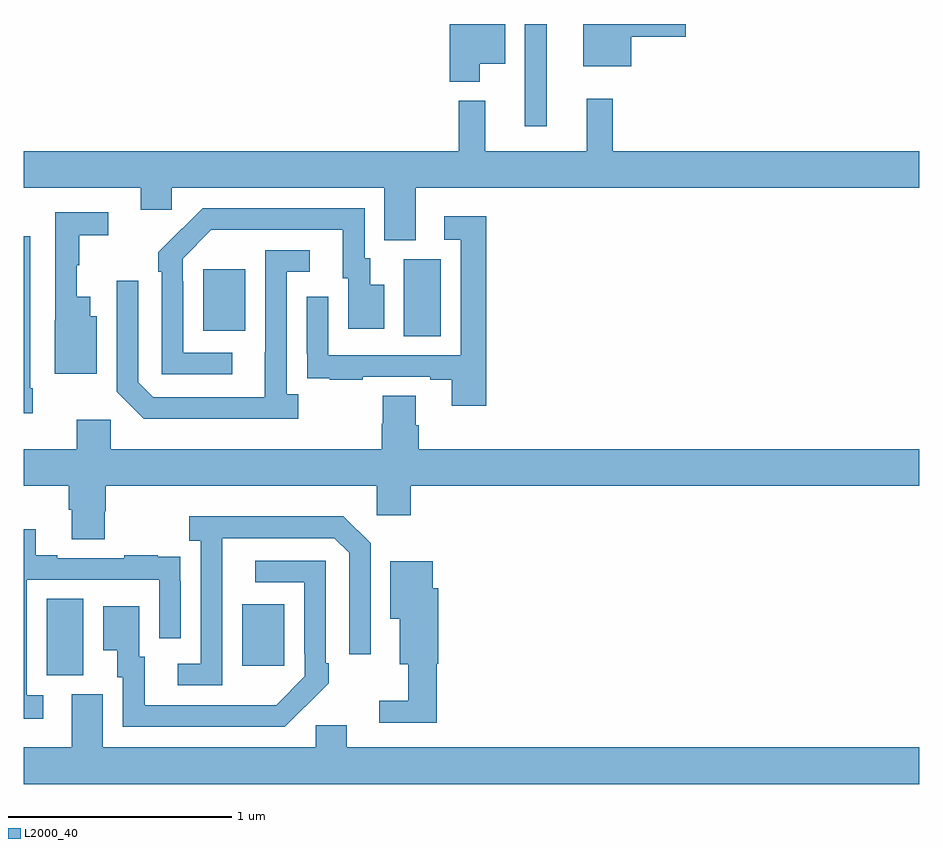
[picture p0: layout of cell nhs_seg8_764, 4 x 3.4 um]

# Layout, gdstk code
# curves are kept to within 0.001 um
import gdstk
lib = gdstk.Library(unit=1e-6, precision=1e-09)
def R(c, l, rs):  # rectangles x0, y0, x1, y1
    for r in rs: c.add(gdstk.rectangle(r[:2], r[2:], *l))
def P(c, l, *ps):  # polygons
    for p in ps: c.add(gdstk.Polygon(p, *l))
L2000_40 = (2000, 40)

nhs_seg8_764 = lib.new_cell('nhs_seg8_764')
R(nhs_seg8_764, L2000_40, [(161.102,1112.989,161.266,1113.332), (161.975,1113.033,162.163,1113.307), (162.698,1114.504,162.862,1114.848), (161.801,1114.529,161.989,1114.804), (163.239,1115.442,163.336,1115.9)])
P(nhs_seg8_764, L2000_40, [(163.036,1115.723),(163.15,1115.723),(163.15,1115.9),(162.902,1115.9),(162.902,1115.642),(163.036,1115.642)],
  [(163.714,1115.843),(163.957,1115.843),(163.957,1115.9),(163.499,1115.9),(163.499,1115.711),(163.714,1115.711)],
  [(162.751,1115.168),(165,1115.168),(165,1115.332),(163.631,1115.332),(163.631,1115.566),(163.514,1115.566),(163.514,1115.332),(163.061,1115.332),(163.061,1115.557),(162.943,1115.557),(162.943,1115.332),(161,1115.332),(161,1115.168),(161.522,1115.168),(161.522,1115.07),(161.661,1115.07),(161.661,1115.168),(162.611,1115.168),(162.611,1114.933),(162.751,1114.933)],
  [(161.932,1114.431),(161.712,1114.431),(161.712,1114.751),(161.709,1114.751),(161.709,1114.851),(161.838,1114.98),(162.425,1114.98),(162.425,1114.764),(162.449,1114.764),(162.449,1114.539),(162.61,1114.539),(162.61,1114.735),(162.547,1114.735),(162.547,1114.854),(162.522,1114.854),(162.522,1115.076),(161.798,1115.076),(161.601,1114.881),(161.601,1114.793),(161.616,1114.793),(161.616,1114.335),(161.932,1114.335)],
  [(161.326,1114.594),(161.296,1114.594),(161.296,1114.681),(161.237,1114.681),(161.237,1114.821),(161.248,1114.821),(161.248,1114.957),(161.377,1114.957),(161.377,1115.058),(161.139,1115.058),(161.139,1114.577),(161.138,1114.577),(161.138,1114.337),(161.326,1114.337)],
  [(163.067,1115.041),(162.879,1115.041),(162.879,1114.935),(162.951,1114.935),(162.951,1114.419),(162.36,1114.419),(162.36,1114.681),(162.264,1114.681),(162.264,1114.426),(162.265,1114.426),(162.265,1114.317),(162.367,1114.317),(162.367,1114.311),(162.515,1114.311),(162.515,1114.323),(162.815,1114.323),(162.815,1114.311),(162.911,1114.311),(162.911,1114.194),(163.067,1114.194)],
  [(161.039,1114.273),(161.029,1114.273),(161.029,1114.952),(161,1114.952),(161,1114.161),(161.039,1114.161)],
  [(162.226,1114.246),(162.174,1114.246),(162.174,1114.794),(162.277,1114.794),(162.277,1114.89),(162.078,1114.89),(162.077,1114.233),(161.577,1114.233),(161.511,1114.299),(161.511,1114.753),(161.415,1114.753),(161.415,1114.257),(161.536,1114.136),(162.226,1114.136)],
  [(161.361,1113.723),(161.366,1113.723),(161.366,1113.836),(162.576,1113.836),(162.576,1113.705),(162.728,1113.705),(162.728,1113.836),(165,1113.836),(165,1114),(162.764,1114),(162.764,1114.106),(162.751,1114.106),(162.751,1114.238),(162.604,1114.238),(162.604,1114.113),(162.599,1114.113),(162.599,1114),(161.388,1114),(161.388,1114.132),(161.237,1114.132),(161.237,1114),(161,1114),(161,1113.836),(161.201,1113.836),(161.201,1113.73),(161.213,1113.73),(161.213,1113.598),(161.361,1113.598)],
  [(161.886,1113.403),(161.887,1113.603),(162.387,1113.603),(162.453,1113.537),(162.453,1113.084),(162.549,1113.084),(162.549,1113.579),(162.428,1113.7),(161.739,1113.7),(161.739,1113.59),(161.79,1113.59),(161.79,1113.042),(161.688,1113.042),(161.688,1112.946),(161.886,1112.946)],
  [(161.086,1112.901),(161.013,1112.901),(161.013,1113.417),(161.604,1113.417),(161.604,1113.156),(161.7,1113.156),(161.7,1113.41),(161.699,1113.41),(161.699,1113.519),(161.597,1113.519),(161.597,1113.526),(161.449,1113.526),(161.449,1113.513),(161.149,1113.513),(161.149,1113.526),(161.053,1113.526),(161.053,1113.643),(161,1113.643),(161,1112.796),(161.086,1112.796)],
  [(162.257,1112.851),(162.258,1112.85),(162.363,1112.955),(162.363,1113.043),(162.348,1113.043),(162.348,1113.501),(162.033,1113.501),(162.033,1113.405),(162.252,1113.405),(162.252,1113.085),(162.255,1113.085),(162.255,1112.985),(162.127,1112.857),(161.539,1112.856),(161.539,1113.072),(161.515,1113.072),(161.515,1113.298),(161.354,1113.298),(161.354,1113.101),(161.417,1113.101),(161.417,1112.982),(161.442,1112.982),(161.442,1112.76),(162.166,1112.76)],
  [(162.845,1113.042),(162.851,1113.042),(162.851,1113.378),(162.826,1113.378),(162.826,1113.499),(162.638,1113.499),(162.638,1113.242),(162.68,1113.242),(162.68,1113.038),(162.717,1113.038),(162.717,1112.875),(162.588,1112.875),(162.588,1112.778),(162.845,1112.778)],
  [(165,1112.668),(162.442,1112.668),(162.442,1112.766),(162.303,1112.766),(162.303,1112.668),(161.353,1112.668),(161.353,1112.904),(161.213,1112.904),(161.213,1112.668),(161,1112.668),(161,1112.504),(165,1112.504)])

lib.write_gds('nhs_seg8_764.gds')
